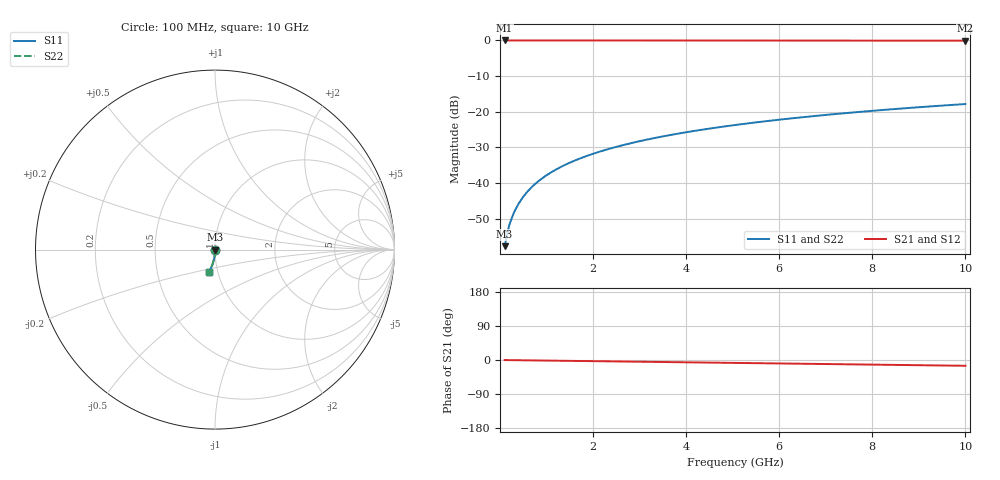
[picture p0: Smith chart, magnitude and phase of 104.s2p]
# Hz S RI R 50.00
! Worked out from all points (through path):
!   100 points, 100 MHz to 10 GHz, reference 50 ohm
!   highest |S21| = 0.00 dB at 100 MHz (marker M1); lowest = -0.1 dB at 10 GHz (marker M2)
!   group delay of S21, straight-line fit = 4.24 ps
!   lowest |S11| = -57.7 dB at 100 MHz (marker M3), VSWR 1.00, Z = 50 - j0.129 ohm
!   |S11| at or under -10 dB: start of sweep to end of sweep
!   |S22| runs from -57.7 to -17.8 dB; largest |S21 - S12| = 0
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1e8  0.000223 -0.00129  0.9998 -0.00264  0.9998 -0.00264  0.000223 -0.00129
2e8  0.000212 -0.00257  0.9997 -0.00527  0.9997 -0.00527  0.000212 -0.00257
3e8  0.000195 -0.00386  0.9997 -0.00791  0.9997 -0.00791  0.000195 -0.00386
4e8  0.00017 -0.00515  0.9997 -0.0105  0.9997 -0.0105  0.00017 -0.00515
5e8  0.000138 -0.00644  0.9996 -0.0132  0.9996 -0.0132  0.000138 -0.00644
6e8  9.98e-05 -0.00772  0.9996 -0.0158  0.9996 -0.0158  9.98e-05 -0.00772
7e8  5.44e-05 -0.00901  0.9995 -0.0185  0.9995 -0.0185  5.44e-05 -0.00901
8e8  2.15e-06 -0.0103  0.9995 -0.0211  0.9995 -0.0211  2.15e-06 -0.0103
9e8  -5.69e-05 -0.0116  0.9994 -0.0237  0.9994 -0.0237  -5.69e-05 -0.0116
1.1e9  -0.000196 -0.0142  0.9992 -0.029  0.9992 -0.029  -0.000196 -0.0142
1.4e9  -0.000455 -0.018  0.9989 -0.0369  0.9989 -0.0369  -0.000455 -0.018
1.8e9  -0.000897 -0.0232  0.9983 -0.0475  0.9983 -0.0475  -0.000897 -0.0232
2.1e9  -0.0013 -0.027  0.9978 -0.0554  0.9978 -0.0554  -0.0013 -0.027
2.5e9  -0.00193 -0.0322  0.997 -0.066  0.997 -0.066  -0.00193 -0.0322
2.9e9  -0.00268 -0.0373  0.9961 -0.0765  0.9961 -0.0765  -0.00268 -0.0373
3.4e9  -0.00376 -0.0437  0.9947 -0.0897  0.9947 -0.0897  -0.00376 -0.0437
4.2e9  -0.00585 -0.0539  0.992 -0.1108  0.992 -0.1108  -0.00585 -0.0539
5.1e9  -0.00872 -0.0653  0.9884 -0.1344  0.9884 -0.1344  -0.00872 -0.0653
5.9e9  -0.0117 -0.0753  0.9845 -0.1554  0.9845 -0.1554  -0.0117 -0.0753
6.7e9  -0.0152 -0.0851  0.9801 -0.1762  0.9801 -0.1762  -0.0152 -0.0851
8.4e9  -0.0239 -0.1055  0.969 -0.2202  0.969 -0.2202  -0.0239 -0.1055
1e10  -0.0337 -0.1239  0.9563 -0.2608  0.9563 -0.2608  -0.0337 -0.1239
